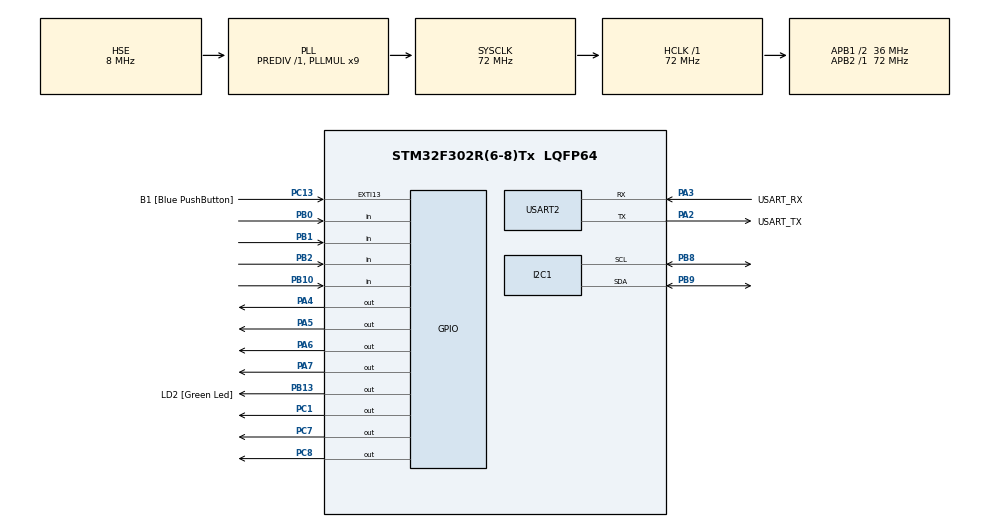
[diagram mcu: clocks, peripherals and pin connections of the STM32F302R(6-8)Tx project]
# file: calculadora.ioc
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Mcu.Family=STM32F3
Mcu.Name=STM32F302R(6-8)Tx
Mcu.Package=LQFP64
NVIC.PriorityGroup=NVIC_PRIORITYGROUP_0
PA13.GPIO_Label=TMS
PA13.Mode=Serial_Wire
PA13.Signal=SYS_JTMS-SWDIO
PA14.GPIO_Label=TCK
PA14.Mode=Serial_Wire
PA14.Signal=SYS_JTCK-SWCLK
PA2.GPIO_Label=USART_TX
PA2.GPIO_Mode=GPIO_MODE_AF_PP
PA2.GPIO_PuPd=GPIO_NOPULL
PA2.GPIO_Speed=GPIO_SPEED_FREQ_LOW
PA2.Mode=Asynchronous
PA2.Signal=USART2_TX
PA3.GPIO_Label=USART_RX
PA3.GPIO_Mode=GPIO_MODE_AF_PP
PA3.GPIO_PuPd=GPIO_NOPULL
PA3.GPIO_Speed=GPIO_SPEED_FREQ_LOW
PA3.Mode=Asynchronous
PA3.Signal=USART2_RX
PA4.Signal=GPIO_Output
PA5.Signal=GPIO_Output
PA6.Signal=GPIO_Output
PA7.Signal=GPIO_Output
PB0.GPIO_PuPd=GPIO_PULLUP
PB0.Signal=GPIO_Input
PB1.GPIO_PuPd=GPIO_PULLUP
PB1.Signal=GPIO_Input
PB10.GPIO_PuPd=GPIO_PULLUP
PB10.Signal=GPIO_Input
PB13.GPIO_Label=LD2 [Green Led]
PB13.Signal=GPIO_Output
PB2.GPIO_PuPd=GPIO_PULLUP
PB2.Signal=GPIO_Input
PB3.GPIO_Label=SWO
PB3.Mode=Trace_Asynchronous_SW
PB3.Signal=SYS_JTDO-TRACESWO
PB8.Mode=I2C
PB8.Signal=I2C1_SCL
PB9.Mode=I2C
PB9.Signal=I2C1_SDA
PC1.Signal=GPIO_Output
PC13.GPIO_Label=B1 [Blue PushButton]
PC13.GPIO_ModeDefaultEXTI=GPIO_MODE_IT_FALLING
PC13.Signal=GPXTI13
PC14\ -\ OSC32_IN.Signal=RCC_OSC32_IN
PC15\ -\ OSC32_OUT.Signal=RCC_OSC32_OUT
PC7.Signal=GPIO_Output
PC8.Signal=GPIO_Output
PF0-OSC_IN.Mode=HSE-External-Oscillator
PF0-OSC_IN.Signal=RCC_OSC_IN
PF1-OSC_OUT.Mode=HSE-External-Oscillator
PF1-OSC_OUT.Signal=RCC_OSC_OUT
ProjectManager.HeapSize=0x200
ProjectManager.StackSize=0x400
ProjectManager.TargetToolchain=STM32CubeIDE
RCC.AHBFreq_Value=72000000
RCC.APB1CLKDivider=RCC_HCLK_DIV2
RCC.APB1Freq_Value=36000000
RCC.APB1TimFreq_Value=72000000
RCC.APB2Freq_Value=72000000
RCC.APB2TimFreq_Value=72000000
RCC.CortexFreq_Value=72000000
RCC.HCLKFreq_Value=72000000
RCC.HSE_VALUE=8000000
RCC.HSI_VALUE=8000000
RCC.LSE_VALUE=32768
RCC.PLLM=8
RCC.PLLMUL=RCC_PLL_MUL9
RCC.PLLN=336
RCC.PLLP=RCC_PLLP_DIV4
RCC.PLLQ=7
RCC.PLLSourceVirtual=RCC_PLLSOURCE_HSE
RCC.SYSCLKFreq_VALUE=72000000
RCC.SYSCLKSourceVirtual=RCC_SYSCLKSOURCE_PLLCLK
RCC.USBFreq_Value=72000000
USART2.VirtualMode-Asynchronous=VM_ASYNC
board=NUCLEO-F302R8

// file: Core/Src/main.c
/* USER CODE BEGIN Header */
/**
  ******************************************************************************
  Julio de la Rosa          2018-6732
  Practica 1          Calculadora
  Microcontroladores C2-2023
  ******************************************************************************
  * @attention
  *
  * Copyright (c) 2023 STMicroelectronics.
  * All rights reserved.
  *
  * This software is licensed under terms that can be found in the LICENSE file
  * in the root directory of this software component.
  * If no LICENSE file comes with this software, it is provided AS-IS.
  *
  ******************************************************************************
  */
/* USER CODE END Header */
#include "main.h"

/* USER CODE BEGIN Includes */
#include "i2c-lcd.h"
#include <stdio.h>
#include <stdlib.h>
//#include <string.h>
#include"max_matrix_stm32.h"
/* USER CODE END Includes */

/* USER CODE BEGIN PD */
#define R1_PORT GPIOA
#define R1_PIN GPIO_PIN_4

#define R2_PORT GPIOA
#define R2_PIN GPIO_PIN_5

#define R3_PORT GPIOA
#define R3_PIN GPIO_PIN_6

#define R4_PORT GPIOA
#define R4_PIN GPIO_PIN_7

#define C1_PORT GPIOB
#define C1_PIN GPIO_PIN_0

#define C2_PORT GPIOB
#define C2_PIN GPIO_PIN_1

#define C3_PORT GPIOB
#define C3_PIN GPIO_PIN_2

#define C4_PORT GPIOB
#define C4_PIN GPIO_PIN_10

/* USER CODE END PD */

I2C_HandleTypeDef hi2c1;

UART_HandleTypeDef huart2;

/* USER CODE BEGIN PV */
/*char num1[10],num2[10];
int resultado;
int co=0;
int numero=0, numero2=0;
int Counter=0;
char array[50];*/
/* USER CODE END PV */

void SystemClock_Config(void);
static void MX_GPIO_Init(void);
static void MX_USART2_UART_Init(void);
static void MX_I2C1_Init(void);

/* USER CODE BEGIN 0 */

char read_keypad (void)
{
	HAL_GPIO_WritePin (R1_PORT, R1_PIN, GPIO_PIN_RESET);
	HAL_GPIO_WritePin (R2_PORT, R2_PIN, GPIO_PIN_SET);
	HAL_GPIO_WritePin (R3_PORT, R3_PIN, GPIO_PIN_SET);
	HAL_GPIO_WritePin (R4_PORT, R4_PIN, GPIO_PIN_SET);

	if (!(HAL_GPIO_ReadPin (C1_PORT, C1_PIN)))
	{
		while (!(HAL_GPIO_ReadPin (C1_PORT, C1_PIN)));
		return '1';
	}

	if (!(HAL_GPIO_ReadPin (C2_PORT, C2_PIN)))
	{
		while (!(HAL_GPIO_ReadPin (C2_PORT, C2_PIN)));
		return '2';
	}

	if (!(HAL_GPIO_ReadPin (C3_PORT, C3_PIN)))
	{
		while (!(HAL_GPIO_ReadPin (C3_PORT, C3_PIN)));
		return '3';
	}

	if (!(HAL_GPIO_ReadPin (C4_PORT, C4_PIN)))
	{
		while (!(HAL_GPIO_ReadPin (C4_PORT, C4_PIN)));
		return 'A';
	}

	/* Make ROW 2 LOW and all other ROWs HIGH */
	HAL_GPIO_WritePin (R1_PORT, R1_PIN, GPIO_PIN_SET);
	HAL_GPIO_WritePin (R2_PORT, R2_PIN, GPIO_PIN_RESET);
	HAL_GPIO_WritePin (R3_PORT, R3_PIN, GPIO_PIN_SET);
	HAL_GPIO_WritePin (R4_PORT, R4_PIN, GPIO_PIN_SET);

	if (!(HAL_GPIO_ReadPin (C1_PORT, C1_PIN)))
	{
		while (!(HAL_GPIO_ReadPin (C1_PORT, C1_PIN)));
		return '4';
	}

	if (!(HAL_GPIO_ReadPin (C2_PORT, C2_PIN)))
	{
		while (!(HAL_GPIO_ReadPin (C2_PORT, C2_PIN)));
		return '5';
	}

	if (!(HAL_GPIO_ReadPin (C3_PORT, C3_PIN)))
	{
		while (!(HAL_GPIO_ReadPin (C3_PORT, C3_PIN)));
		return '6';
	}

	if (!(HAL_GPIO_ReadPin (C4_PORT, C4_PIN)))
	{
		while (!(HAL_GPIO_ReadPin (C4_PORT, C4_PIN)));
		return 'B';
	}

	HAL_GPIO_WritePin (R1_PORT, R1_PIN, GPIO_PIN_SET);
	HAL_GPIO_WritePin (R2_PORT, R2_PIN, GPIO_PIN_SET);
	HAL_GPIO_WritePin (R3_PORT, R3_PIN, GPIO_PIN_RESET);
	HAL_GPIO_WritePin (R4_PORT, R4_PIN, GPIO_PIN_SET);

	if (!(HAL_GPIO_ReadPin (C1_PORT, C1_PIN)))
	{
		while (!(HAL_GPIO_ReadPin (C1_PORT, C1_PIN)));
		return '7';
	}

	if (!(HAL_GPIO_ReadPin (C2_PORT, C2_PIN)))
	{
		while (!(HAL_GPIO_ReadPin (C2_PORT, C2_PIN)));
		return '8';
	}

	if (!(HAL_GPIO_ReadPin (C3_PORT, C3_PIN)))
	{
		while (!(HAL_GPIO_ReadPin (C3_PORT, C3_PIN)));
		return '9';
	}

	if (!(HAL_GPIO_ReadPin (C4_PORT, C4_PIN)))
	{
		while (!(HAL_GPIO_ReadPin (C4_PORT, C4_PIN)));
		return 'C';
	}

	HAL_GPIO_WritePin (R1_PORT, R1_PIN, GPIO_PIN_SET);
	HAL_GPIO_WritePin (R2_PORT, R2_PIN, GPIO_PIN_SET);
	HAL_GPIO_WritePin (R3_PORT, R3_PIN, GPIO_PIN_SET);
	HAL_GPIO_WritePin (R4_PORT, R4_PIN, GPIO_PIN_RESET);

	if (!(HAL_GPIO_ReadPin (C1_PORT, C1_PIN)))
	{
		while (!(HAL_GPIO_ReadPin (C1_PORT, C1_PIN)));
		return '*';
	}

	if (!(HAL_GPIO_ReadPin (C2_PORT, C2_PIN)))
	{
		while (!(HAL_GPIO_ReadPin (C2_PORT, C2_PIN)));
		return '0';
	}

	if (!(HAL_GPIO_ReadPin (C3_PORT, C3_PIN)))
	{
		while (!(HAL_GPIO_ReadPin (C3_PORT, C3_PIN)));
		return '#';
	}

	if (!(HAL_GPIO_ReadPin (C4_PORT, C4_PIN)))
	{
		while (!(HAL_GPIO_ReadPin (C4_PORT, C4_PIN)));
		return 'D';
	}

return '\0';
}

uint8_t key;
/* USER CODE END 0 */

int main(void)
{

  /* MCU Configuration--------------------------------------------------------*/

  /* Reset of all peripherals, Initializes the Flash interface and the Systick. */
  HAL_Init();

  /* Configure the system clock */
  SystemClock_Config();

  /* Initialize all configured peripherals */
  MX_GPIO_Init();
  MX_USART2_UART_Init();
  MX_I2C1_Init();
  /* USER CODE BEGIN 2 */
  lcd_init ();
  max_init(0x03);
  /* USER CODE END 2 */

  /* Infinite loop */
  /* USER CODE BEGIN WHILE */
while (1)
  {
	char operation = 0;

	lcd_send_cmd(0x01); // Limpiar la pantalla

	lcd_send_cmd(0x80); // Establecer cursor en la primera línea
	lcd_send_string("  A)suma  B)resta");

	lcd_send_cmd(0xC0); // Establecer cursor en la segunda línea
	lcd_send_string("C)multi D)div");

	while (operation == 0) {
	    key = read_keypad();

	    if (key != 0x01) {
	        if (key >= 'A' && key <= 'D') {
	            operation = key;
	        } else {
	            lcd_send_cmd(0x01); // Limpiar la pantalla
	            lcd_send_cmd(0x80);
	            lcd_send_string("  invalido");
	            lcd_send_cmd(0xC0);
	            lcd_send_string("Intente de nuevo");
	            write_char(88, 1);
	            HAL_Delay(2000);
	            max_clear();
	            lcd_send_cmd(0x01);
	            lcd_send_cmd(0x80); // Establecer cursor en la primera línea
	            lcd_send_string("  A)suma  B)resta");
	            lcd_send_cmd(0xC0); // Establecer cursor en la segunda línea
	            lcd_send_string("C)multi  D)div");
	        }
	    }
	}

	max_clear();

	lcd_send_cmd(0x01); // Limpiar la pantalla

	switch (operation) {
	    case 'A':
	        write_char(43, 1);
	        break;
	    case 'B':
	        write_char(45, 1);
	        break;
	    case 'C':
	        write_char(42, 1);
	        break;
	    case 'D':
	        write_char(47, 1);
	        break;
	}

	int num1 = 0;
	int num2 = 0;
	int digits1 = 0;
	int digits2 = 0;

	lcd_send_cmd(0x80);
	lcd_send_string("1ro num:");

	while (1) {
	    key = read_keypad();

	    if (key != 0x01) {
	        if (key >= '0' && key <= '9' && digits1 < 4) {
	            int digit = key - '0';
	            num1 = (num1 * 10) + digit;
	            lcd_send_data(key);
	            digits1++;
	        } else if (key == '#') {
	            break;
	        } else if (key == '*') {
	            num1 /= 10;
	            lcd_send_cmd(0x10); // Mover cursor hacia la izquierda
	            lcd_send_data(' ');
	            lcd_send_cmd(0x10);
	            digits1--;
	        }
	    }
	}

	lcd_send_cmd(0x01); // Limpiar la pantalla
	lcd_send_cmd(0x80); // Establecer cursor en la primera línea
	lcd_send_string("  2do num:");

	while (1) {
	    key = read_keypad();

	    if (key != 0x01) {
	        if (key >= '0' && key <= '9' && digits2 < 4) {
	            int digit = key - '0';
	            num2 = (num2 * 10) + digit;
	            lcd_send_data(key);
	            digits2++;
	        } else if (key == '#') {
	            break;
	        } else if (key == '*') {
	            num2 /= 10;
	            lcd_send_cmd(0x10); // Mover cursor hacia la izquierda
	            lcd_send_data(' ');
	            lcd_send_cmd(0x10);
	            digits2--;
	        }
	    }
	}

	int result = 0;

	switch (operation) {
	    case 'A':
	        write_char(43, 1);
	        result = num1 + num2;
	        break;
	    case 'B':
	        write_char(45, 1);
	        result = num1 - num2;
	        break;
	    case 'C':
	        write_char(42, 1);
	        result = num1 * num2;
	        break;
	    case 'D':
	            write_char(47, 1);
	            if (num2 != 0) {
	                result = num1 / num2;
	            } else {
	                lcd_send_cmd(0x01);
	                lcd_send_cmd(0x80);
	                lcd_send_string("  Division por 0");
	                lcd_send_cmd(0xC0);
	                lcd_send_string("Resultado: Inf");
	                while (1) {
	                    key = read_keypad();
	                    if (key == '#') {
	                        max_clear();
	                        break;
	                    }
	                }

	            }
	            break;
	    }

	lcd_send_cmd(0x01);
	lcd_send_cmd(0x80);
	if(num2!=0){
	lcd_send_string("  Resultado:");
	}
	if (result > 9999) {
	    lcd_send_cmd(0xC0);
	    lcd_send_string("Error Muy Largo");
	    write_char(1, 1);
	} else if (num2 != 0) {
	    lcd_send_cmd(0xC0);
	   if (result < 0) {
	      lcd_send_data('-');
	      result = -result;
	    }
	    lcd_send_data((result / 1000) + '0');
	    lcd_send_data(((result / 100) % 10) + '0');
	    lcd_send_data(((result / 10) % 10) + '0');
	    lcd_send_data((result % 10) + '0');
	}

	// hasta que se presione #
	while (1) {
	    key = read_keypad();

	    if (key == '#') {
	        max_clear();
	        break;
	    }
	}
}

    /* USER CODE END WHILE */

  }

void SystemClock_Config(void)
{
  RCC_OscInitTypeDef RCC_OscInitStruct = {0};
  RCC_ClkInitTypeDef RCC_ClkInitStruct = {0};
  RCC_PeriphCLKInitTypeDef PeriphClkInit = {0};

  /** Initializes the RCC Oscillators according to the specified parameters
  * in the RCC_OscInitTypeDef structure.
  */
  RCC_OscInitStruct.OscillatorType = RCC_OSCILLATORTYPE_HSI|RCC_OSCILLATORTYPE_HSE;
  RCC_OscInitStruct.HSEState = RCC_HSE_ON;
  RCC_OscInitStruct.HSEPredivValue = RCC_HSE_PREDIV_DIV1;
  RCC_OscInitStruct.HSIState = RCC_HSI_ON;
  RCC_OscInitStruct.HSICalibrationValue = RCC_HSICALIBRATION_DEFAULT;
  RCC_OscInitStruct.PLL.PLLState = RCC_PLL_ON;
  RCC_OscInitStruct.PLL.PLLSource = RCC_PLLSOURCE_HSE;
  RCC_OscInitStruct.PLL.PLLMUL = RCC_PLL_MUL9;
  if (HAL_RCC_OscConfig(&RCC_OscInitStruct) != HAL_OK)
  {
    Error_Handler();
  }

  /** Initializes the CPU, AHB and APB buses clocks
  */
  RCC_ClkInitStruct.ClockType = RCC_CLOCKTYPE_HCLK|RCC_CLOCKTYPE_SYSCLK
                              |RCC_CLOCKTYPE_PCLK1|RCC_CLOCKTYPE_PCLK2;
  RCC_ClkInitStruct.SYSCLKSource = RCC_SYSCLKSOURCE_PLLCLK;
  RCC_ClkInitStruct.AHBCLKDivider = RCC_SYSCLK_DIV1;
  RCC_ClkInitStruct.APB1CLKDivider = RCC_HCLK_DIV2;
  RCC_ClkInitStruct.APB2CLKDivider = RCC_HCLK_DIV1;

  if (HAL_RCC_ClockConfig(&RCC_ClkInitStruct, FLASH_LATENCY_2) != HAL_OK)
  {
    Error_Handler();
  }
  PeriphClkInit.PeriphClockSelection = RCC_PERIPHCLK_I2C1;
  PeriphClkInit.I2c1ClockSelection = RCC_I2C1CLKSOURCE_HSI;
  if (HAL_RCCEx_PeriphCLKConfig(&PeriphClkInit) != HAL_OK)
  {
    Error_Handler();
  }
}

static void MX_I2C1_Init(void)
{

  hi2c1.Instance = I2C1;
  hi2c1.Init.Timing = 0x2000090E;
  hi2c1.Init.OwnAddress1 = 0;
  hi2c1.Init.AddressingMode = I2C_ADDRESSINGMODE_7BIT;
  hi2c1.Init.DualAddressMode = I2C_DUALADDRESS_DISABLE;
  hi2c1.Init.OwnAddress2 = 0;
  hi2c1.Init.OwnAddress2Masks = I2C_OA2_NOMASK;
  hi2c1.Init.GeneralCallMode = I2C_GENERALCALL_DISABLE;
  hi2c1.Init.NoStretchMode = I2C_NOSTRETCH_DISABLE;
  if (HAL_I2C_Init(&hi2c1) != HAL_OK)
  {
    Error_Handler();
  }

  /** Configure Analogue filter
  */
  if (HAL_I2CEx_ConfigAnalogFilter(&hi2c1, I2C_ANALOGFILTER_ENABLE) != HAL_OK)
  {
    Error_Handler();
  }

  /** Configure Digital filter
  */
  if (HAL_I2CEx_ConfigDigitalFilter(&hi2c1, 0) != HAL_OK)
  {
    Error_Handler();
  }

}

static void MX_USART2_UART_Init(void)
{

  huart2.Instance = USART2;
  huart2.Init.BaudRate = 38400;
  huart2.Init.WordLength = UART_WORDLENGTH_8B;
  huart2.Init.StopBits = UART_STOPBITS_1;
  huart2.Init.Parity = UART_PARITY_NONE;
  huart2.Init.Mode = UART_MODE_TX_RX;
  huart2.Init.HwFlowCtl = UART_HWCONTROL_NONE;
  huart2.Init.OverSampling = UART_OVERSAMPLING_16;
  huart2.Init.OneBitSampling = UART_ONE_BIT_SAMPLE_DISABLE;
  huart2.AdvancedInit.AdvFeatureInit = UART_ADVFEATURE_NO_INIT;
  if (HAL_UART_Init(&huart2) != HAL_OK)
  {
    Error_Handler();
  }

}

static void MX_GPIO_Init(void)
{
  GPIO_InitTypeDef GPIO_InitStruct = {0};

  /* GPIO Ports Clock Enable */
  __HAL_RCC_GPIOC_CLK_ENABLE();
  __HAL_RCC_GPIOF_CLK_ENABLE();
  __HAL_RCC_GPIOA_CLK_ENABLE();
  __HAL_RCC_GPIOB_CLK_ENABLE();

  /*Configure GPIO pin Output Level */
  HAL_GPIO_WritePin(GPIOC, GPIO_PIN_1|GPIO_PIN_7|GPIO_PIN_8, GPIO_PIN_RESET);

  /*Configure GPIO pin Output Level */
  HAL_GPIO_WritePin(GPIOA, GPIO_PIN_4|GPIO_PIN_5|GPIO_PIN_6|GPIO_PIN_7, GPIO_PIN_RESET);

  /*Configure GPIO pin Output Level */
  HAL_GPIO_WritePin(LD2_GPIO_Port, LD2_Pin, GPIO_PIN_RESET);

  /*Configure GPIO pin : B1_Pin */
  GPIO_InitStruct.Pin = B1_Pin;
  GPIO_InitStruct.Mode = GPIO_MODE_IT_FALLING;
  GPIO_InitStruct.Pull = GPIO_NOPULL;
  HAL_GPIO_Init(B1_GPIO_Port, &GPIO_InitStruct);

  /*Configure GPIO pins : PC1 PC7 PC8 */
  GPIO_InitStruct.Pin = GPIO_PIN_1|GPIO_PIN_7|GPIO_PIN_8;
  GPIO_InitStruct.Mode = GPIO_MODE_OUTPUT_PP;
  GPIO_InitStruct.Pull = GPIO_NOPULL;
  GPIO_InitStruct.Speed = GPIO_SPEED_FREQ_LOW;
  HAL_GPIO_Init(GPIOC, &GPIO_InitStruct);

  /*Configure GPIO pins : PA4 PA5 PA6 PA7 */
  GPIO_InitStruct.Pin = GPIO_PIN_4|GPIO_PIN_5|GPIO_PIN_6|GPIO_PIN_7;
  GPIO_InitStruct.Mode = GPIO_MODE_OUTPUT_PP;
  GPIO_InitStruct.Pull = GPIO_NOPULL;
  GPIO_InitStruct.Speed = GPIO_SPEED_FREQ_LOW;
  HAL_GPIO_Init(GPIOA, &GPIO_InitStruct);

  /*Configure GPIO pins : PB0 PB1 PB2 PB10 */
  GPIO_InitStruct.Pin = GPIO_PIN_0|GPIO_PIN_1|GPIO_PIN_2|GPIO_PIN_10;
  GPIO_InitStruct.Mode = GPIO_MODE_INPUT;
  GPIO_InitStruct.Pull = GPIO_PULLUP;
  HAL_GPIO_Init(GPIOB, &GPIO_InitStruct);

  /*Configure GPIO pin : LD2_Pin */
  GPIO_InitStruct.Pin = LD2_Pin;
  GPIO_InitStruct.Mode = GPIO_MODE_OUTPUT_PP;
  GPIO_InitStruct.Pull = GPIO_NOPULL;
  GPIO_InitStruct.Speed = GPIO_SPEED_FREQ_LOW;
  HAL_GPIO_Init(LD2_GPIO_Port, &GPIO_InitStruct);

}

void Error_Handler(void)
{
  __disable_irq();
  while (1)
  {
  }
}
